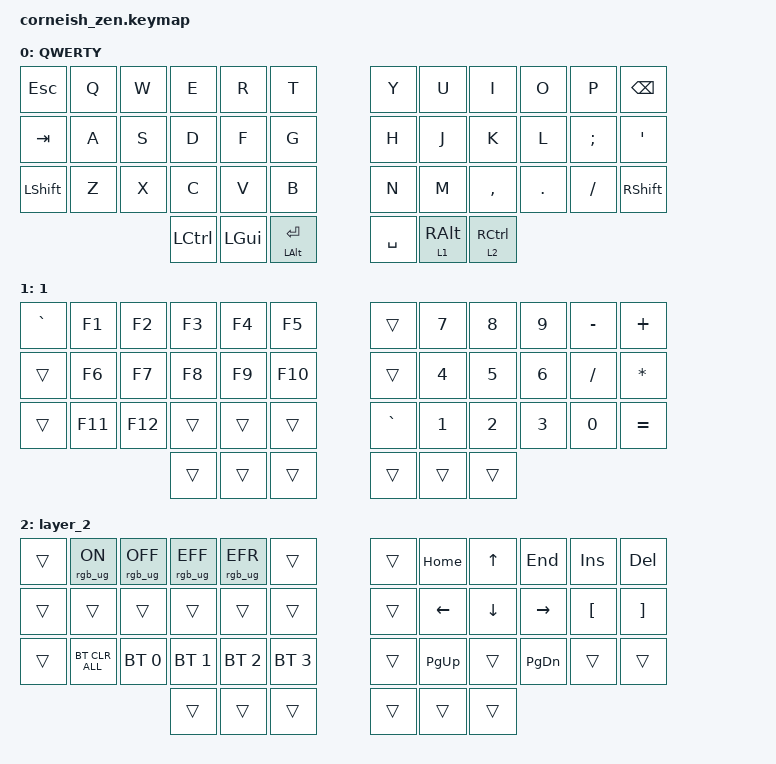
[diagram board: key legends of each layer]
/*
 * Copyright (c) 2020 The ZMK Contributors
 *
 * SPDX-License-Identifier: MIT
 */

#include <behaviors.dtsi>
#include <dt-bindings/zmk/bt.h>
#include <dt-bindings/zmk/keys.h>
#include <dt-bindings/zmk/rgb.h>

/ {
    chosen {
        zmk,matrix_transform = &default_transform;

        // zmk,matrix_transform = &five_column_transform;
    };
};

/ {
    behaviors {
        td0: td0 {
            compatible = "zmk,behavior-tap-dance";
            label = "TD0";
            #binding-cells = <0>;
            bindings = <&kp LEFT_SHIFT>, <&kp CAPS>;
        };
    };

    macros {
        alttap: new_macro {
            compatible = "zmk,behavior-macro";
            #binding-cells = <0>;
            bindings = <&kp LA(TAB)>;
            label = "NEW_MACRO";
        };
    };

    keymap {
        compatible = "zmk,keymap";

        default_layer {
            display-name = "QWERTY";

            // --------------------------------------------------------------------------------
            // |  TAB |  Q  |  W  |  E  |  R  |  T  |   |  Y  |  U   |  I  |  O  |  P  | BKSP |
            // | CTRL |  A  |  S  |  D  |  F  |  G  |   |  H  |  J   |  K  |  L  |  ;  |  '   | 
            // | SHFT |  Z  |  X  |  C  |  V  |  B  |   |  N  |  M   |  ,  |  .  |  /  | ESC  |
            //                    | GUI | LWR | SPC |   | ENT | RSE  | ALT |

            bindings = <
&kp ESC         &kp Q  &kp W  &kp E      &kp R         &kp T                 &kp Y      &kp U            &kp I        &kp O    &kp P     &kp BSPC
&kp TAB         &kp A  &kp S  &kp D      &kp F         &kp G                 &kp H      &kp J            &kp K        &kp L    &kp SEMI  &kp SQT
&kp LEFT_SHIFT  &kp Z  &kp X  &kp C      &kp V         &kp B                 &kp N      &kp M            &kp COMMA    &kp DOT  &kp FSLH  &kp RIGHT_SHIFT
                              &kp LCTRL  &kp LEFT_GUI  &mt LEFT_ALT ENTER    &kp SPACE  &lt 1 RIGHT_ALT  &lt 2 RCTRL
            >;
        };

        lower_layer {
            display-name = "1";

            // -----------------------------------------------------------------------------------------
            // |  TAB |  1  |  2  |  3  |  4  |  5  |   |  6  |  7  |  8  |  9  |  0  | BKSP |
            // | BTCLR| BT1 | BT2 | BT3 | BT4 | BT5 |   | LFT | DWN |  UP | RGT |     |      |
            // | SHFT |     |     |     |     |     |   |     |     |     |     |     |      |
            //                    | GUI |     | SPC |   | ENT |     | ALT |

            bindings = <
&kp GRAVE  &kp F1   &kp F2   &kp F3  &kp F4  &kp F5     &trans     &kp N7        &kp N8        &kp N9        &kp MINUS  &kp PLUS
&trans     &kp F6   &kp F7   &kp F8  &kp F9  &kp F10    &trans     &kp NUMBER_4  &kp N5        &kp NUMBER_6  &kp SLASH  &kp ASTERISK
&trans     &kp F11  &kp F12  &trans  &trans  &trans     &kp GRAVE  &kp NUMBER_1  &kp NUMBER_2  &kp NUMBER_3  &kp N0     &kp EQUAL
                             &trans  &trans  &trans     &trans     &trans        &trans
            >;
        };

        layer_2 {
            bindings = <
&trans  &rgb_ug RGB_ON  &rgb_ug RGB_OFF  &rgb_ug RGB_EFF  &rgb_ug RGB_EFR  &trans          &trans  &kp HOME        &kp UP_ARROW    &kp END          &kp INS           &kp DEL
&trans  &trans          &trans           &trans           &trans           &trans          &trans  &kp LEFT_ARROW  &kp DOWN_ARROW  &kp RIGHT_ARROW  &kp LEFT_BRACKET  &kp RIGHT_BRACKET
&trans  &bt BT_CLR_ALL  &bt BT_SEL 0     &bt BT_SEL 1     &bt BT_SEL 2     &bt BT_SEL 3    &trans  &kp PG_UP       &trans          &kp PAGE_DOWN    &trans            &trans
                                         &trans           &trans           &trans          &trans  &trans          &trans
            >;
        };
    };
};
